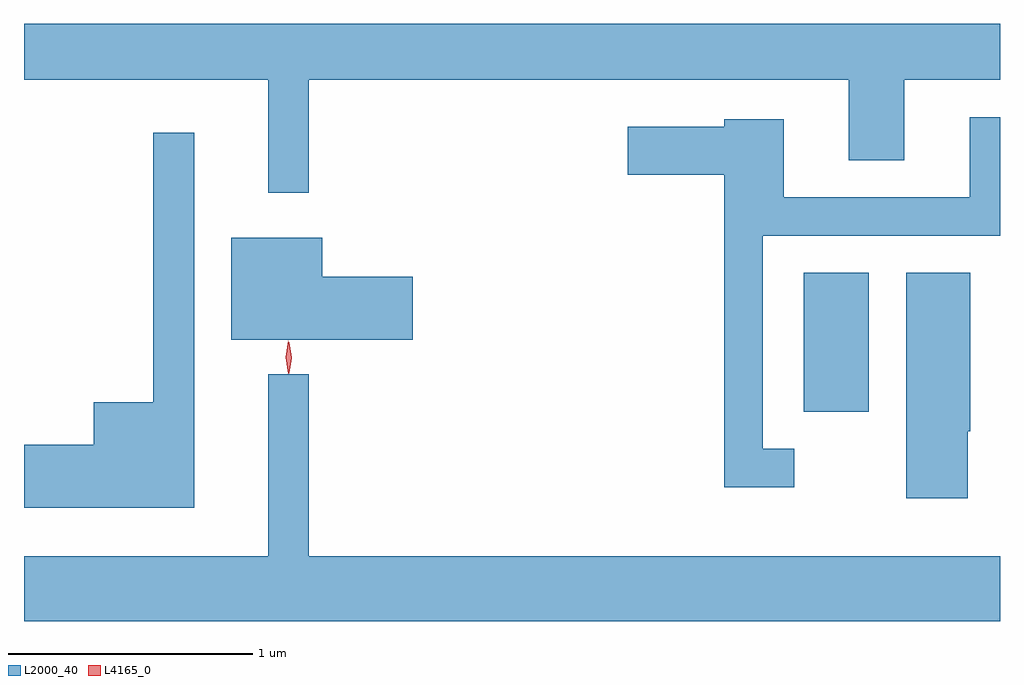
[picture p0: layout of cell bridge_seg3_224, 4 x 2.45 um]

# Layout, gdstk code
import gdstk
lib = gdstk.Library(unit=1e-6, precision=1e-09)
def R(c, l, rs):  # rectangles x0, y0, x1, y1
    for r in rs: c.add(gdstk.rectangle(r[:2], r[2:], *l))
def P(c, l, *ps):  # polygons
    for p in ps: c.add(gdstk.Polygon(p, *l))
L2000_40 = (2000, 40)
L4165_0 = (4165, 0)

bridge_seg3_224 = lib.new_cell('bridge_seg3_224')
R(bridge_seg3_224, L2000_40, [(969.676,1137.976,969.944,1138.544)])
P(bridge_seg3_224, L2000_40, [(967.649,1139.336),(969.861,1139.336),(969.861,1139.006),(970.089,1139.006),(970.089,1139.336),(970.481,1139.336),(970.481,1139.566),(966.481,1139.566),(966.481,1139.336),(967.481,1139.336),(967.481,1138.873),(967.649,1138.873)],
  [(969.638,1137.824),(969.509,1137.824),(969.509,1138.696),(970.481,1138.696),(970.481,1139.183),(970.356,1139.183),(970.356,1138.854),(969.594,1138.854),(969.594,1139.174),(969.351,1139.174),(969.351,1139.144),(968.956,1139.144),(968.956,1138.946),(969.351,1138.946),(969.351,1137.666),(969.638,1137.666)],
  [(967.179,1139.118),(967.011,1139.118),(967.011,1138.014),(966.766,1138.014),(966.766,1137.839),(966.481,1137.839),(966.481,1137.581),(967.179,1137.581)],
  [(968.074,1138.529),(967.704,1138.529),(967.704,1138.689),(967.331,1138.689),(967.331,1138.271),(968.074,1138.271)],
  [(970.349,1137.895),(970.359,1137.895),(970.359,1138.544),(970.096,1138.544),(970.096,1137.621),(970.349,1137.621)],
  [(970.481,1137.384),(967.649,1137.384),(967.649,1138.128),(967.481,1138.128),(967.481,1137.384),(966.481,1137.384),(966.481,1137.116),(970.481,1137.116)])
P(bridge_seg3_224, L4165_0, [(967.567,1138.133),(967.558,1138.196),(967.567,1138.26),(967.568,1138.26),(967.568,1138.26),(967.578,1138.196),(967.568,1138.133),(967.568,1138.133)],
  [(967.564,1138.13),(967.554,1138.198),(967.563,1138.266),(967.564,1138.266),(967.564,1138.266),(967.574,1138.198),(967.565,1138.13),(967.565,1138.13)])

lib.write_gds('bridge_seg3_224.gds')
